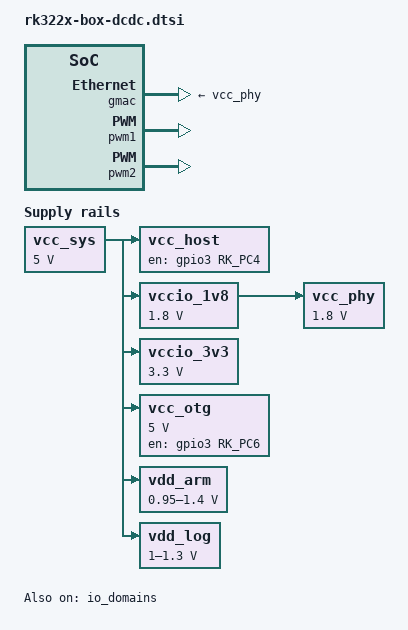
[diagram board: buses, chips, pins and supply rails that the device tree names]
// SPDX-License-Identifier: (GPL-2.0+ OR MIT)

/dts-v1/;

#include <dt-bindings/gpio/gpio.h>
#include <dt-bindings/pinctrl/rockchip.h>
#include "rk322x-box.dtsi"

/ {

	vcc_host: vcc-host-regulator {
		compatible = "regulator-fixed";
		enable-active-high;
		gpio = <&gpio3 RK_PC4 GPIO_ACTIVE_HIGH>;
		pinctrl-names = "default";
		pinctrl-0 = <&host_vbus_drv>;
		regulator-name = "vcc_host";
		regulator-always-on;
		regulator-boot-on;
		vin-supply = <&vcc_sys>;
	};

	vccio_1v8: vccio-1v8-regulator {
		compatible = "regulator-fixed";
		regulator-name = "vccio_1v8";
		regulator-min-microvolt = <1800000>;
		regulator-max-microvolt = <1800000>;
		regulator-always-on;
		vin-supply = <&vcc_sys>;
	};

	vccio_3v3: vccio-3v3-regulator {
		compatible = "regulator-fixed";
		regulator-name = "vccio_3v3";
		regulator-min-microvolt = <3300000>;
		regulator-max-microvolt = <3300000>;
		regulator-always-on;
		vin-supply = <&vcc_sys>;
	};


	vcc_otg: vcc-otg-regulator {
		compatible = "regulator-fixed";
		enable-active-high;
		gpio = <&gpio3 RK_PC6 GPIO_ACTIVE_HIGH>;
		pinctrl-names = "default";
		pinctrl-0 = <&otg_vbus_drv>;
		regulator-name = "vcc_otg_vbus";
		regulator-min-microvolt = <5000000>;
		regulator-max-microvolt = <5000000>;
		regulator-always-on;
		regulator-boot-on;
		vin-supply = <&vcc_sys>;
	};

	vcc_phy: vcc-phy-regulator {
		compatible = "regulator-fixed";
		enable-active-high;
		regulator-name = "vcc_phy";
		regulator-min-microvolt = <1800000>;
		regulator-max-microvolt = <1800000>;
		regulator-always-on;
		regulator-boot-on;
		vin-supply = <&vccio_1v8>;
	};

	vcc_sys: vcc-sys-regulator {
		compatible = "regulator-fixed";
		regulator-name = "vcc_sys";
		regulator-always-on;
		regulator-boot-on;
		regulator-min-microvolt = <5000000>;
		regulator-max-microvolt = <5000000>;
	};

	vdd_arm: vdd-arm-regulator {
		compatible = "pwm-regulator";
		pwms = <&pwm1 0 2000 0>;
		pwm-supply = <&vcc_sys>;
		regulator-name = "vdd_arm";
		regulator-min-microvolt = <950000>;
		regulator-max-microvolt = <1400000>;
		regulator-ramp-delay = <4000>;
		pwm-dutycycle-range = <90 0>;
		regulator-always-on;
		regulator-boot-on;
	};

	vdd_log: vdd-log-regulator {
		compatible = "pwm-regulator";
		pwms = <&pwm2 0 5000 0>;
		pwm-supply = <&vcc_sys>;
		regulator-name = "vdd_log";
		regulator-min-microvolt = <1000000>;
		regulator-max-microvolt = <1300000>;
		regulator-ramp-delay = <4000>;
		pwm-dutycycle-range = <100 0>;
		regulator-always-on;
		regulator-boot-on;
	};

};

&cpu0 {
	cpu-supply = <&vdd_arm>;
};

&cpu1 {
	cpu-supply = <&vdd_arm>;
};

&cpu2 {
	cpu-supply = <&vdd_arm>;
};

&cpu3 {
	cpu-supply = <&vdd_arm>;
};

&io_domains {
	vccio1-supply = <&vccio_3v3>;
	vccio2-supply = <&vccio_1v8>;
	vccio4-supply = <&vccio_3v3>;
	status = "okay";
};

&gmac {
	phy-supply = <&vcc_phy>;
};

&gpu {
	mali-supply = <&vdd_log>;
};

&pwm1 {
	pinctrl-0 = <&pwm1_pin_pull_down>;
	status = "okay";
};

&pwm2 {
	pinctrl-0 = <&pwm2_pin_pull_up>;
	status = "okay";
};

&u2phy0 {
	u2phy0_host: host-port {
		phy-supply = <&vcc_host>;
	};

	u2phy0_otg: otg-port {
		phy-supply = <&vcc_otg>;
	};
};

&u2phy1 {
	u2phy1_host: host-port {
		phy-supply = <&vcc_host>;
	};

	u2phy1_otg: otg-port {
		phy-supply = <&vcc_otg>;
	};
};
